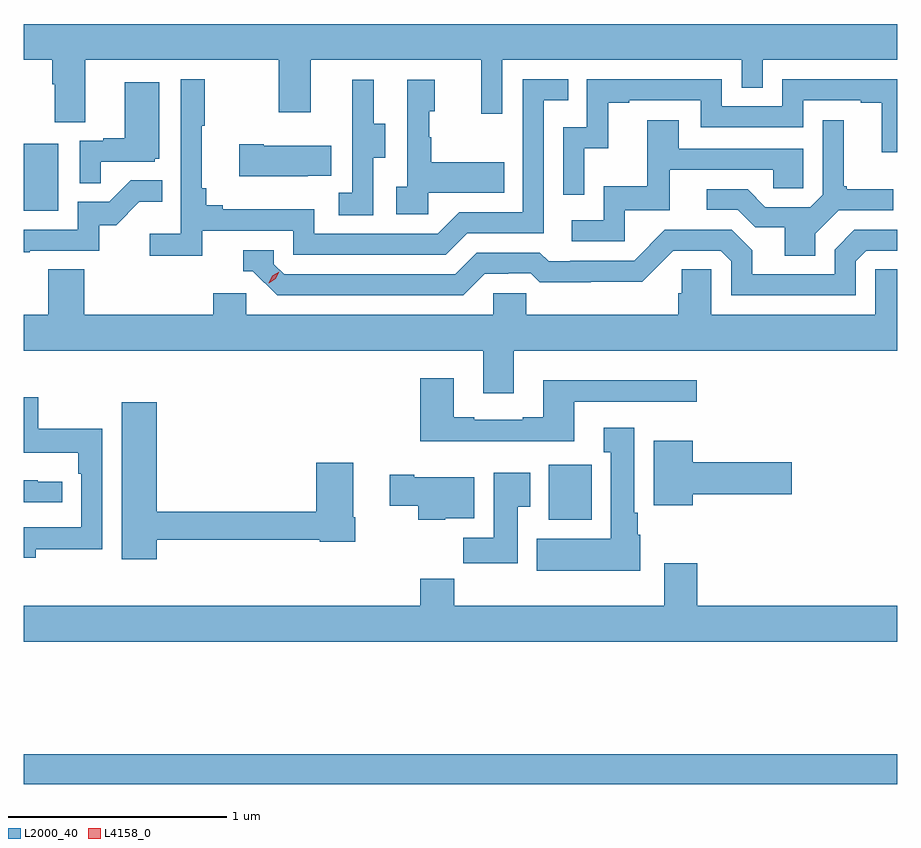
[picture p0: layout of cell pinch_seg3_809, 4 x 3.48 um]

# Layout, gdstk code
import gdstk
lib = gdstk.Library(unit=1e-6, precision=1e-09)
def R(c, l, rs):  # rectangles x0, y0, x1, y1
    for r in rs: c.add(gdstk.rectangle(r[:2], r[2:], *l))
def P(c, l, *ps):  # polygons
    for p in ps: c.add(gdstk.Polygon(p, *l))
L2000_40 = (2000, 40)
L4158_0 = (4158, 0)

pinch_seg3_809 = lib.new_cell('pinch_seg3_809')
R(pinch_seg3_809, L2000_40, [(854.413,720.244,858.413,720.38), (856.817,721.454,857.013,721.705), (854.413,722.868,854.572,723.175)])
P(pinch_seg3_809, L2000_40, [(854.695,723.56),(855.58,723.56),(855.58,723.321),(855.727,723.321),(855.727,723.56),(856.508,723.56),(856.508,723.312),(856.605,723.312),(856.605,723.56),(857.7,723.56),(857.7,723.433),(857.796,723.433),(857.796,723.56),(858.413,723.56),(858.413,723.724),(854.413,723.724),(854.413,723.56),(854.543,723.56),(854.543,723.448),(854.555,723.448),(854.555,723.274),(854.695,723.274)],
  [(855.23,722.778),(855.648,722.778),(855.648,722.667),(856.345,722.667),(856.444,722.766),(856.794,722.766),(856.794,723.375),(856.907,723.375),(856.907,723.471),(856.698,723.471),(856.698,722.862),(856.407,722.862),(856.308,722.763),(855.744,722.763),(855.744,722.875),(855.325,722.875),(855.325,722.894),(855.248,722.894),(855.248,722.971),(855.229,722.971),(855.229,723.259),(855.241,723.259),(855.241,723.472),(855.132,723.472),(855.132,722.764),(854.991,722.764),(854.991,722.662),(855.23,722.662)],
  [(856.98,723.155),(857.09,723.155),(857.09,723.363),(857.185,723.363),(857.185,723.375),(857.514,723.375),(857.514,723.252),(857.982,723.252),(857.982,723.375),(858.245,723.375),(858.245,723.363),(858.341,723.363),(858.341,723.137),(858.413,723.137),(858.413,723.471),(857.886,723.471),(857.886,723.348),(857.61,723.348),(857.61,723.471),(856.992,723.471),(856.992,723.252),(856.884,723.252),(856.884,722.943),(856.98,722.943)],
  [(856.266,722.951),(856.613,722.951),(856.613,723.091),(856.279,723.091),(856.279,723.206),(856.269,723.206),(856.269,723.324),(856.294,723.324),(856.294,723.469),(856.17,723.469),(856.17,722.978),(856.119,722.978),(856.119,722.853),(856.266,722.853)],
  [(856.014,723.112),(856.069,723.112),(856.069,723.267),(856.015,723.267),(856.015,723.469),(855.917,723.469),(855.917,723.255),(855.918,723.255),(855.918,722.951),(855.855,722.951),(855.855,722.848),(856.014,722.848)],
  [(854.765,723.093),(855.012,723.093),(855.012,723.108),(855.034,723.108),(855.034,723.457),(854.876,723.457),(854.876,723.202),(854.777,723.202),(854.777,723.189),(854.67,723.189),(854.67,722.995),(854.765,722.995)],
  [(857.166,722.871),(857.371,722.871),(857.371,723.057),(857.845,723.057),(857.845,722.973),(857.982,722.973),(857.982,723.153),(857.413,723.153),(857.413,723.283),(857.269,723.283),(857.269,722.98),(857.07,722.98),(857.07,722.826),(856.923,722.826),(856.923,722.73),(857.166,722.73)],
  [(858.037,722.764),(858.144,722.871),(858.394,722.871),(858.394,722.968),(858.181,722.968),(858.181,722.98),(858.169,722.98),(858.169,723.283),(858.072,723.283),(858.072,722.943),(858.015,722.886),(857.809,722.886),(857.728,722.967),(857.541,722.967),(857.541,722.874),(857.682,722.874),(857.762,722.794),(857.897,722.794),(857.897,722.662),(858.037,722.662)],
  [(855.713,723.029),(855.821,723.029),(855.821,723.166),(855.511,723.166),(855.511,723.174),(855.399,723.174),(855.399,723.026),(855.713,723.026)],
  [(854.441,722.685),(854.76,722.685),(854.76,722.802),(854.836,722.802),(854.943,722.909),(855.047,722.909),(855.047,723.008),(854.903,723.008),(854.805,722.91),(854.661,722.91),(854.661,722.781),(854.413,722.781),(854.413,722.68),(854.441,722.68)],
  [(856.525,722.58),(856.632,722.58),(856.632,722.583),(856.735,722.583),(856.777,722.541),(857.01,722.541),(857.01,722.543),(857.246,722.543),(857.388,722.685),(857.604,722.685),(857.652,722.637),(857.652,722.481),(858.222,722.481),(858.222,722.637),(858.27,722.685),(858.413,722.685),(858.413,722.781),(858.216,722.781),(858.126,722.691),(858.126,722.577),(857.749,722.577),(857.749,722.687),(857.655,722.781),(857.349,722.781),(857.208,722.64),(856.915,722.64),(856.915,722.637),(856.816,722.637),(856.777,722.676),(856.488,722.676),(856.389,722.577),(855.606,722.577),(855.558,722.625),(855.558,722.688),(855.419,722.688),(855.419,722.592),(855.462,722.592),(855.573,722.481),(856.426,722.481)],
  [(858.413,722.6),(858.312,722.6),(858.312,722.392),(857.562,722.392),(857.562,722.6),(857.425,722.6),(857.425,722.49),(857.411,722.49),(857.411,722.392),(856.713,722.392),(856.713,722.49),(856.563,722.49),(856.563,722.392),(855.432,722.392),(855.432,722.49),(855.281,722.49),(855.281,722.392),(854.69,722.392),(854.69,722.6),(854.525,722.6),(854.525,722.392),(854.413,722.392),(854.413,722.228),(856.517,722.228),(856.517,722.034),(856.657,722.034),(856.657,722.228),(858.413,722.228)],
  [(856.933,721.995),(857.494,721.995),(857.494,722.092),(856.793,722.092),(856.793,721.924),(856.697,721.924),(856.697,721.911),(856.477,721.911),(856.477,721.924),(856.381,721.924),(856.381,722.101),(856.229,722.101),(856.229,721.814),(856.933,721.814)],
  [(854.467,721.318),(854.772,721.318),(854.772,721.87),(854.479,721.87),(854.479,722.016),(854.413,722.016),(854.413,721.76),(854.663,721.76),(854.663,721.664),(854.676,721.664),(854.676,721.419),(854.413,721.419),(854.413,721.28),(854.467,721.28)],
  [(855.022,721.362),(855.768,721.362),(855.768,721.354),(855.93,721.354),(855.93,721.465),(855.922,721.465),(855.922,721.714),(855.752,721.714),(855.752,721.49),(855.022,721.49),(855.022,721.993),(854.861,721.993),(854.861,721.272),(855.022,721.272)],
  [(857.236,721.386),(857.224,721.386),(857.224,721.486),(857.209,721.486),(857.209,721.876),(857.069,721.876),(857.069,721.763),(857.102,721.763),(857.102,721.366),(856.763,721.366),(856.763,721.22),(857.236,721.22)],
  [(857.476,721.571),(857.929,721.571),(857.929,721.718),(857.476,721.718),(857.476,721.816),(857.297,721.816),(857.297,721.52),(857.476,721.52)],
  [(856.675,721.513),(856.732,721.513),(856.732,721.669),(856.565,721.669),(856.565,721.372),(856.426,721.372),(856.426,721.254),(856.675,721.254)],
  [(856.344,721.46),(856.477,721.46),(856.477,721.648),(856.201,721.648),(856.201,721.661),(856.089,721.661),(856.089,721.519),(856.219,721.519),(856.219,721.454),(856.344,721.454)],
  [(854.59,721.629),(854.477,721.629),(854.477,721.634),(854.413,721.634),(854.413,721.533),(854.59,721.533)],
  [(858.413,721.06),(857.498,721.06),(857.498,721.255),(857.345,721.255),(857.345,721.06),(856.385,721.06),(856.385,721.184),(856.229,721.184),(856.229,721.06),(854.413,721.06),(854.413,720.896),(858.413,720.896)])
P(pinch_seg3_809, L4158_0, [(855.535,722.538),(855.535,722.539),(855.552,722.571),(855.583,722.59),(855.583,722.59),(855.583,722.59),(855.566,722.558),(855.535,722.538)])

lib.write_gds('pinch_seg3_809.gds')
